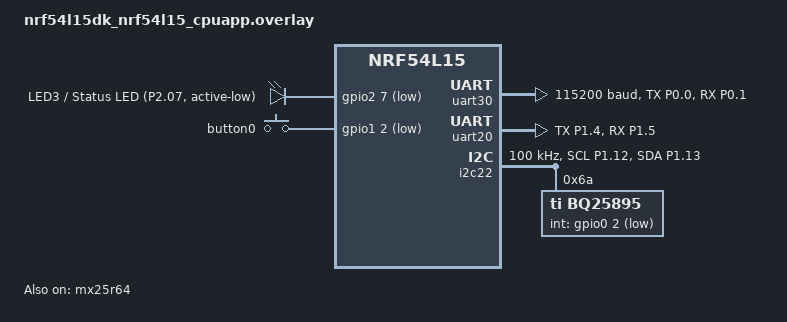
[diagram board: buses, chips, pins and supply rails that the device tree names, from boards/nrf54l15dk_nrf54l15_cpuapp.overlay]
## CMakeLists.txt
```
#
# SPDX-License-Identifier: LicenseRef-Nordic-5-Clause
#
cmake_minimum_required(VERSION 3.20.0)

find_package(Zephyr REQUIRED HINTS $ENV{ZEPHYR_BASE})
project(xbox_central)

target_include_directories(app PRIVATE ../../esb/common)

target_sources(app PRIVATE
  src/main.c
  src/xbox_report.c
  src/xbox_hids.c
  src/bq25895.c
  src/bq_shell.c
  src/esb_shell.c
  src/hub_log.c
  src/hub_flash_log.c
  src/hub_ble_log.c
  src/hub_status_led.c
  src/loglevel_shell.c
  src/flog_shell.c
  ../../esb/common/uart_rc_link.c
)
```

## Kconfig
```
# SPDX-License-Identifier: LicenseRef-Nordic-5-Clause

mainmenu "Ground BLE Hub"

source "Kconfig.zephyr"

menu "BQ25895 battery profile"

config BQ25895_BATT_CAPACITY_MAH
	int "LiPo cell capacity (mAh)"
	default 200
	range 50 10000
	help
	  Rated capacity of the connected single-cell LiPo.
	  Fast-charge current is derived as ~0.5C (rounded to the
	  BQ25895 64 mA step). Change this when swapping to a larger pack.

config BQ25895_CHARGE_RATE_MILLIC
	int "Charge rate in milli-C (500 = 0.5C)"
	default 500
	range 100 1000
	help
	  Fast-charge rate relative to capacity. 500 = 0.5C (typical LiPo).
	  ICHG = capacity_mAh * rate / 1000, then rounded to 64 mA steps
	  (minimum 64 mA, maximum 3008 mA).

endmenu
```

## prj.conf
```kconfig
#
# SPDX-License-Identifier: LicenseRef-Nordic-5-Clause
#
CONFIG_NCS_SAMPLES_DEFAULTS=y

CONFIG_BT=y
CONFIG_BT_CENTRAL=y
CONFIG_BT_PERIPHERAL=y
CONFIG_BT_SMP=y
CONFIG_BT_MAX_CONN=2
CONFIG_BT_ATT_TX_COUNT=5
CONFIG_BT_GATT_CLIENT=y
CONFIG_BT_GATT_DM=y
# Avoid HCI cmd-buffer deadlock when BT RX WQ issues sync commands
# (scan/adv/connect) while the only TX cmd buffer is still in flight.
CONFIG_BT_BUF_CMD_TX_COUNT=4
# Central may initiate while still scanning (Xbox reconnect + phone adv).
CONFIG_BT_CTLR_SDC_ALLOW_PARALLEL_SCANNING_AND_INITIATING=y
CONFIG_HEAP_MEM_POOL_SIZE=8192
CONFIG_BT_DEVICE_NAME="GroundHub"

CONFIG_BT_SCAN=y
CONFIG_BT_SCAN_FILTER_ENABLE=y
CONFIG_BT_SCAN_UUID_CNT=1
# Xbox controllers are unstable as BLE central when using host privacy (BlueZ/NimBLE).
# CONFIG_BT_PRIVACY is not set
CONFIG_BT_MAX_PAIRED=4

CONFIG_MAIN_STACK_SIZE=3584
CONFIG_SYSTEM_WORKQUEUE_STACK_SIZE=4096
CONFIG_BT_RX_STACK_SIZE=2560

CONFIG_BT_SETTINGS=y
CONFIG_SETTINGS=y
CONFIG_ZMS=y
CONFIG_SETTINGS_ZMS=y
CONFIG_PM_PARTITION_SIZE_SETTINGS_STORAGE=0x2000
CONFIG_FLASH=y
CONFIG_FLASH_PAGE_LAYOUT=y
CONFIG_FLASH_MAP=y
CONFIG_SPI=y
CONFIG_SPI_NOR=y
# MX25R64 supports 4KB sector erase; use it so log reclaim drops less data.
CONFIG_SPI_NOR_FLASH_LAYOUT_PAGE_SIZE=4096

# LiPo pack on BQ25895 — change when swapping to a larger cell.
CONFIG_BQ25895_BATT_CAPACITY_MAH=200
CONFIG_BQ25895_CHARGE_RATE_MILLIC=500

CONFIG_DK_LIBRARY=y
CONFIG_UART_INTERRUPT_DRIVEN=y

# P1.02/P1.03 default to NFC; release them so Btn1 (pair) on P1.02 is a real GPIO.
CONFIG_NFCT_PINS_AS_GPIOS=y

# BQ25895 power/charge manager (register-level I2C access + INT GPIO)
CONFIG_I2C=y
CONFIG_GPIO=y

# UART shell on console (uart20). Interrupt-driven RX is required for reliable
# input on nRF54L UARTE (EasyDMA); polling often never sees keystrokes.
CONFIG_SHELL=y
CONFIG_SHELL_BACKEND_SERIAL=y
CONFIG_SHELL_BACKEND_SERIAL_INTERRUPT_DRIVEN=y
CONFIG_SHELL_BACKEND_SERIAL_API_INTERRUPT_DRIVEN=y
CONFIG_SHELL_PROMPT_UART="hub> "
CONFIG_SHELL_STACK_SIZE=3072
CONFIG_SHELL_CMD_BUFF_SIZE=256
CONFIG_SHELL_BACKEND_SERIAL_RX_RING_BUFFER_SIZE=128
# Do not gate TX on DTR (screen/picocom often leave DTR awkward).
CONFIG_SHELL_BACKEND_SERIAL_CHECK_DTR=n

# Quiet Zephyr/BT stack console by default (ERR only).
# App HUB_* logs default to external flash (see flog / loglevel); UART mirror off.
CONFIG_LOG_DEFAULT_LEVEL=1
```

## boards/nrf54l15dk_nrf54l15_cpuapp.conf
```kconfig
#
# SPDX-License-Identifier: LicenseRef-Nordic-5-Clause
#

CONFIG_MAIN_STACK_SIZE=3584
```

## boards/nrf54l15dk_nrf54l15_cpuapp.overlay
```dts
/*
 * SPDX-License-Identifier: LicenseRef-Nordic-5-Clause
 *
 * Hub RC link on uart30: TX/RX only (no hardware flow control).
 * BQ25895 power/charge manager on i2c22 (SCL P1.12, SDA P1.13, addr 0x6A).
 * INT -> P0.02 (active-low pulse).
 */

/ {
	aliases {
		battery-charger = &bq25895;
		/* DK LED3 @ P2.07 (DT node led2) — also used as system status LED. */
		status-led = &led2;
	};
};

/*
 * Override DK LED3 (DT: led2, P2.07): external LED is active-low.
 * Board silk LED3 shares this pin; polarity matches the discrete LED.
 */
&led2 {
	gpios = <&gpio2 7 GPIO_ACTIVE_LOW>;
	label = "LED3 / Status LED (P2.07, active-low)";
};

&pinctrl {
	uart30_default: uart30_default {
		group1 {
			psels = <NRF_PSEL(UART_TX, 0, 0)>;
		};

		group2 {
			psels = <NRF_PSEL(UART_RX, 0, 1)>;
			bias-pull-up;
		};
	};

	uart30_sleep: uart30_sleep {
		group1 {
			psels = <NRF_PSEL(UART_TX, 0, 0)>,
				<NRF_PSEL(UART_RX, 0, 1)>;
			low-power-enable;
		};
	};

	/*
	 * I2C22 for the BQ25895. P1.12/P1.13 are free on the DK
	 * (console uart20 uses P1.04 TX / P1.05 RX).
	 * Adjust these psels to match your actual BQ25895 wiring.
	 */
	i2c22_default: i2c22_default {
		group1 {
			psels = <NRF_PSEL(TWIM_SCL, 1, 12)>,
				<NRF_PSEL(TWIM_SDA, 1, 13)>;
			bias-pull-up;
		};
	};

	i2c22_sleep: i2c22_sleep {
		group1 {
			psels = <NRF_PSEL(TWIM_SCL, 1, 12)>,
				<NRF_PSEL(TWIM_SDA, 1, 13)>;
			low-power-enable;
			bias-pull-up;
		};
	};

	/*
	 * Console uart20: TX/RX only. Board default also muxes RTS/CTS; with a
	 * CP2104 (or any adapter that honors CTS) that blocks host→MCU TX while
	 * MCU→host still works — Enter never reaches the shell.
	 */
	uart20_default: uart20_default {
		group1 {
			psels = <NRF_PSEL(UART_TX, 1, 4)>;
		};

		group2 {
			psels = <NRF_PSEL(UART_RX, 1, 5)>;
			bias-pull-up;
		};
	};

	uart20_sleep: uart20_sleep {
		group1 {
			psels = <NRF_PSEL(UART_TX, 1, 4)>,
				<NRF_PSEL(UART_RX, 1, 5)>;
			low-power-enable;
		};
	};
};

&uart30 {
	status = "okay";
	current-speed = <115200>;
	pinctrl-0 = <&uart30_default>;
	pinctrl-1 = <&uart30_sleep>;
	pinctrl-names = "default", "sleep";
};

/* Console/shell on uart20 — no HWFC, TX/RX-only pinctrl above */
&uart20 {
	/delete-property/ hw-flow-control;
	pinctrl-0 = <&uart20_default>;
	pinctrl-1 = <&uart20_sleep>;
	pinctrl-names = "default", "sleep";
};

/*
 * Button1 (DK_BTN1 / sw0) on P1.02 for ESB OTA pair hold.
 * P1.02 is NFC1 by default — release via &uicr { nfct-pins-as-gpios; }.
 * Also keeps SW0 off P1.13 (BQ25895 SDA).
 */
&button0 {
	gpios = <&gpio1 2 (GPIO_PULL_UP | GPIO_ACTIVE_LOW)>;
};

/* Required for P1.02/P1.03 as GPIO on nRF54L (injects NRF_CONFIG_NFCT_PINS_AS_GPIOS). */
&uicr {
	nfct-pins-as-gpios;
};

/*
 * External SPI NOR (DK MX25R64 on spi00). App uses the first 1 MiB as a
 * shared circular log with 4KB sectors (see hub_flash_log.c).
 */
&mx25r64 {
	status = "okay";
};

&i2c22 {
	status = "okay";
	pinctrl-0 = <&i2c22_default>;
	pinctrl-1 = <&i2c22_sleep>;
	pinctrl-names = "default", "sleep";
	clock-frequency = <I2C_BITRATE_STANDARD>;

	/* BQ25895 has a fixed 7-bit I2C address of 0x6A. INT on P0.02. */
	bq25895: charger@6a {
		compatible = "ti,bq25895";
		reg = <0x6a>;
		int-gpios = <&gpio0 2 (GPIO_PULL_UP | GPIO_ACTIVE_LOW)>;
	};
};
```

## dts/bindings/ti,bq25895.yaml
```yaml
# SPDX-License-Identifier: LicenseRef-Nordic-5-Clause
#
# Minimal binding for the TI BQ25895 I2C switch-mode battery charger.
# The firmware talks to it with register-level I2C access.

description: TI BQ25895 switch-mode battery charger / power path manager

compatible: "ti,bq25895"

include: [i2c-device.yaml]

properties:
  int-gpios:
    type: phandle-array
    description: |
      Open-drain INT pin (active-low ~256 µs pulse). Connect to a GPIO with
      pull-up; host uses falling-edge IRQ to read status / clear REG0C.
```

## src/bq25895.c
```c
/*
 * SPDX-License-Identifier: LicenseRef-Nordic-5-Clause
 */

#include "bq25895.h"

#include <errno.h>
#include <stddef.h>
#include <zephyr/device.h>
#include <zephyr/devicetree.h>
#include <zephyr/drivers/gpio.h>
#include <zephyr/drivers/i2c.h>
#include <zephyr/kernel.h>
#include "hub_log.h"

HUB_LOG_MODULE_DEFINE(HUB_MOD_BQ);
#include <zephyr/sys/util.h>

/* Register map (subset used for status reporting / bring-up). */
#define BQ25895_REG_IINLIM     0x00 /* EN_HIZ / EN_ILIM / IINLIM */
#define BQ25895_REG_ADC_CTRL   0x02 /* CONV_RATE / ICO / HVDCP / MAXC / DPDM */
#define BQ25895_REG_SYS_CTRL   0x03 /* OTG_CONFIG / CHG_CONFIG */
#define BQ25895_REG_ICHG       0x04 /* ICHG[6:0], 64 mA/step */
#define BQ25895_REG_IPRETERM   0x05 /* IPRECHG[7:4] / ITERM[3:0], 64 mA/step */
#define BQ25895_REG_CHG_VOLT   0x06 /* VREG / BATLOWV / VRECHG */
#define BQ25895_REG_TIMER      0x07 /* EN_TERM / WATCHDOG / EN_TIMER */
#define BQ25895_REG_CHG_STATUS 0x0B /* VBUS_STAT / CHRG_STAT / PG_STAT */
#define BQ25895_REG_FAULT      0x0C
#define BQ25895_REG_BATV       0x0E /* THERM_STAT[7], BATV[6:0] */
#define BQ25895_REG_SYSV       0x0F /* SYSV[6:0] */
#define BQ25895_REG_VBUSV      0x11 /* VBUS_GD[7], VBUSV[6:0] */
#define BQ25895_REG_ICHGR      0x12 /* ICHGR[6:0] */

#define BQ25895_ADC_CONV_RATE  BIT(6) /* 1 = continuous 1 Hz ADC */
#define BQ25895_ICO_EN         BIT(4)
#define BQ25895_HVDCP_EN       BIT(3)
#define BQ25895_MAXC_EN        BIT(2)
#define BQ25895_OTG_CONFIG     BIT(5)
#define BQ25895_CHG_CONFIG     BIT(4)
#define BQ25895_VRECHG         BIT(0) /* 1 = 200 mV recharge threshold */
#define BQ25895_WATCHDOG_MASK  (BIT(5) | BIT(4))
#define BQ25895_EN_ILIM        BIT(6)
#define BQ25895_IINLIM_MASK    0x3FU
#define BQ25895_ICHG_MASK      0x7FU
#define BQ25895_IPRECHG_SHIFT  4
#define BQ25895_IPRETERM_MASK  0xFFU

/* Current programming (datasheet). */
#define BQ25895_ICHG_STEP_MA      64U
#define BQ25895_ICHG_MAX_MA       3008U
#define BQ25895_IPRETERM_STEP_MA  64U
#define BQ25895_IPRETERM_MAX_MA   1024U
#define BQ25895_IINLIM_OFFSET_MA  100U
#define BQ25895_IINLIM_STEP_MA    50U

/*
 * Battery profile — default 200 mAh LiPo @ ~0.5C.
 * Override via Kconfig (menuconfig / prj.conf) when swapping packs, e.g.:
 *   CONFIG_BQ25895_BATT_CAPACITY_MAH=1000
 */
#ifndef CONFIG_BQ25895_BATT_CAPACITY_MAH
#define CONFIG_BQ25895_BATT_CAPACITY_MAH 200
#endif
#ifndef CONFIG_BQ25895_CHARGE_RATE_MILLIC
#define CONFIG_BQ25895_CHARGE_RATE_MILLIC 500
#endif

#define BQ25895_BATT_CAPACITY_MAH ((uint32_t)CONFIG_BQ25895_BATT_CAPACITY_MAH)
#define BQ25895_CHARGE_RATE_MILLIC ((uint32_t)CONFIG_BQ25895_CHARGE_RATE_MILLIC)

/* USB500-class input limit — enough headroom for small ICHG + system load. */
#define BQ25895_IINLIM_TARGET_MA  500U

/* ADC scaling per datasheet. */
#define BQ25895_BATV_OFFSET_MV  2304U
#define BQ25895_BATV_STEP_MV    20U
#define BQ25895_SYSV_OFFSET_MV  2304U
#define BQ25895_SYSV_STEP_MV    20U
#define BQ25895_VBUSV_OFFSET_MV 2600U
#define BQ25895_VBUSV_STEP_MV   100U
#define BQ25895_ICHGR_STEP_MA   50U

/* Rough single-cell Li-ion SoC end points. */
#define BQ25895_BATT_EMPTY_MV 3300U
#define BQ25895_BATT_FULL_MV  4200U

static uint8_t soc_from_mv(uint16_t mv)
{
	if (mv <= BQ25895_BATT_EMPTY_MV) {
		return 0U;
	}
	if (mv >= BQ25895_BATT_FULL_MV) {
		return 100U;
	}
	return (uint8_t)(((uint32_t)(mv - BQ25895_BATT_EMPTY_MV) * 100U) /
			 (BQ25895_BATT_FULL_MV - BQ25895_BATT_EMPTY_MV));
}

/** Round @p ma up to @p step, clamp to [step, max]. */
static uint16_t round_current_ma(uint32_t ma, uint16_t step, uint16_t max_ma)
{
	uint32_t rounded;

	if (ma < step) {
		return step;
	}
	rounded = ((ma + (step / 2U)) / step) * step;
	if (rounded < step) {
		rounded = step;
	}
	if (rounded > max_ma) {
		rounded = max_ma;
	}
	return (uint16_t)rounded;
}

static uint16_t profile_ichg_ma(void)
{
	uint32_t target =
		(BQ25895_BATT_CAPACITY_MAH * BQ25895_CHARGE_RATE_MILLIC) / 1000U;

	return round_current_ma(target, BQ25895_ICHG_STEP_MA, BQ25895_ICHG_MAX_MA);
}

/** Termination / precharge ≈ 0.1C, floored at chip minimum 64 mA. */
static uint16_t profile_iterm_ma(void)
{
	uint32_t target = (BQ25895_BATT_CAPACITY_MAH + 9U) / 10U;

	return round_current_ma(target, BQ25895_IPRETERM_STEP_MA,
				BQ25895_IPRETERM_MAX_MA);
}

static uint8_t encode_ichg(uint16_t ma)
{
	return (uint8_t)((ma / BQ25895_ICHG_STEP_MA) & BQ25895_ICHG_MASK);
}

static uint8_t encode_ipreterm_nibble(uint16_t ma)
{
	uint16_t code;

	if (ma < BQ25895_IPRETERM_STEP_MA) {
		ma = BQ25895_IPRETERM_STEP_MA;
	}
	code = (uint16_t)(ma / BQ25895_IPRETERM_STEP_MA);
	if (code == 0U) {
		code = 1U;
	}
	if (code > 16U) {
		code = 16U;
	}
	/* REG05: field value N programs (N+1)*64 mA → store N = code-1. */
	return (uint8_t)(code - 1U);
}

static uint8_t encode_iinlim(uint16_t ma)
{
	uint16_t code;

	if (ma < BQ25895_IINLIM_OFFSET_MA) {
		ma = BQ25895_IINLIM_OFFSET_MA;
	}
	code = (uint16_t)((ma - BQ25895_IINLIM_OFFSET_MA) / BQ25895_IINLIM_STEP_MA);
	if (code > BQ25895_IINLIM_MASK) {
		code = BQ25895_IINLIM_MASK;
	}
	return (uint8_t)code;
}


#if DT_HAS_ALIAS(battery_charger)

#define BQ25895_NODE DT_ALIAS(battery_charger)
#define BQ25895_HAS_INT DT_NODE_HAS_PROP(BQ25895_NODE, int_gpios)

/* Coalesce DPDM / multi-fault INT bursts before touching I2C. */
#define BQ25895_INT_DEBOUNCE_MS 30

static const struct i2c_dt_spec charger = I2C_DT_SPEC_GET(BQ25895_NODE);

static bq25895_event_cb_t event_cb;
static bool irq_armed;

#if BQ25895_HAS_INT
static const struct gpio_dt_spec int_gpio = GPIO_DT_SPEC_GET(BQ25895_NODE, int_gpios);
static struct gpio_callback int_cb_data;
static struct k_work_delayable int_work;

static void bq25895_int_work_handler(struct k_work *work)
{
	bq25895_event_cb_t cb = event_cb;

	ARG_UNUSED(work);

	if (cb != NULL) {
		cb();
	}
}

static void bq25895_int_isr(const struct device *port, struct gpio_callback *cb,
			    uint32_t pins)
{
	ARG_UNUSED(port);
	ARG_UNUSED(cb);
	ARG_UNUSED(pins);

	(void)k_work_reschedule(&int_work, K_MSEC(BQ25895_INT_DEBOUNCE_MS));
}

static int bq25895_irq_init(void)
{
	int err;

	if (!gpio_is_ready_dt(&int_gpio)) {
		HUB_ERR("BQ25895 INT GPIO not ready\n");
		return -ENODEV;
	}

	err = gpio_pin_configure_dt(&int_gpio, GPIO_INPUT);
	if (err) {
		HUB_ERR("BQ25895 INT configure failed: %d\n", err);
		return err;
	}

	err = gpio_pin_interrupt_configure_dt(&int_gpio, GPIO_INT_EDGE_TO_ACTIVE);
	if (err) {
		HUB_ERR("BQ25895 INT irq configure failed: %d\n", err);
		return err;
	}

	k_work_init_delayable(&int_work, bq25895_int_work_handler);
	gpio_init_callback(&int_cb_data, bq25895_int_isr, BIT(int_gpio.pin));
	err = gpio_add_callback(int_gpio.port, &int_cb_data);
	if (err) {
		HUB_ERR("BQ25895 INT callback add failed: %d\n", err);
		return err;
	}

	irq_armed = true;
	HUB_INF("BQ25895 INT on %s.%u (edge-to-active, %u ms debounce)\n",
		int_gpio.port->name, int_gpio.pin, BQ25895_INT_DEBOUNCE_MS);
	return 0;
}
#else /* !BQ25895_HAS_INT */
static int bq25895_irq_init(void)
{
	HUB_WRN("BQ25895 int-gpios missing — IRQ disabled\n");
	irq_armed = false;
	return 0;
}
#endif /* BQ25895_HAS_INT */

bool bq25895_available(void)
{
	return device_is_ready(charger.bus);
}

bool bq25895_irq_ready(void)
{
	return irq_armed;
}

void bq25895_set_event_cb(bq25895_event_cb_t cb)
{
	event_cb = cb;
}

/*
 * Defaults leave HVDCP/MaxCharge/ICO on. On a plain 5 V USB/bench supply that
 * causes PUMPX current pulses (VBUS dips). Keep OTG/boost enabled so battery
 * can power the onboard rail via PMID when VBUS is absent.
 *
 * Charge currents follow the LiPo capacity profile (see Kconfig /
 * BQ25895_BATT_CAPACITY_MAH) so a 200 mAh cell is not hit with the chip's
 * default ~2 A ICHG.
 */
static int bq25895_apply_safe_config(void)
{
	uint8_t reg;
	uint16_t ichg_ma;
	uint16_t iterm_ma;
	int err;

	ichg_ma = profile_ichg_ma();
	iterm_ma = profile_iterm_ma();

	err = i2c_reg_read_byte_dt(&charger, BQ25895_REG_ADC_CTRL, &reg);
	if (err) {
		return err;
	}
	reg |= BQ25895_ADC_CONV_RATE;
	reg &= (uint8_t)~(BQ25895_ICO_EN | BQ25895_HVDCP_EN | BQ25895_MAXC_EN);
	err = i2c_reg_write_byte_dt(&charger, BQ25895_REG_ADC_CTRL, reg);
	if (err) {
		return err;
	}

	err = i2c_reg_read_byte_dt(&charger, BQ25895_REG_SYS_CTRL, &reg);
	if (err) {
		return err;
	}
	/* Charge on; keep OTG/boost on so BAT can supply onboard rail via PMID. */
	reg |= BQ25895_CHG_CONFIG | BQ25895_OTG_CONFIG;
	err = i2c_reg_write_byte_dt(&charger, BQ25895_REG_SYS_CTRL, reg);
	if (err) {
		return err;
	}

	/* REG00: keep EN_ILIM, set IINLIM (USB500). D+/D- may overwrite later. */
	err = i2c_reg_read_byte_dt(&charger, BQ25895_REG_IINLIM, &reg);
	if (err) {
		return err;
	}
	reg = (uint8_t)((reg & (uint8_t)~BQ25895_IINLIM_MASK) |
			encode_iinlim(BQ25895_IINLIM_TARGET_MA) | BQ25895_EN_ILIM);
	err = i2c_reg_write_byte_dt(&charger, BQ25895_REG_IINLIM, reg);
	if (err) {
		return err;
	}

	/* REG04: fast-charge current from capacity profile. */
	err = i2c_reg_write_byte_dt(&charger, BQ25895_REG_ICHG, encode_ichg(ichg_ma));
	if (err) {
		return err;
	}

	/*
	 * REG05: IPRECHG + ITERM. Chip minimum is 64 mA (~0.32C on 200 mAh);
	 * that is the gentlest termination the BQ25895 allows.
	 */
	reg = (uint8_t)((encode_ipreterm_nibble(iterm_ma) << BQ25895_IPRECHG_SHIFT) |
			encode_ipreterm_nibble(iterm_ma));
	err = i2c_reg_write_byte_dt(&charger, BQ25895_REG_IPRETERM, reg);
	if (err) {
		return err;
	}

	err = i2c_reg_read_byte_dt(&charger, BQ25895_REG_CHG_VOLT, &reg);
	if (err) {
		return err;
	}
	/* 200 mV recharge hysteresis — reduces done/charging chatter near VRECHG. */
	if ((reg & BQ25895_VRECHG) == 0U) {
		reg |= BQ25895_VRECHG;
		err = i2c_reg_write_byte_dt(&charger, BQ25895_REG_CHG_VOLT, reg);
		if (err) {
			return err;
		}
	}

	err = i2c_reg_read_byte_dt(&charger, BQ25895_REG_TIMER, &reg);
	if (err) {
		return err;
	}
	/* Disable I2C watchdog so a POR/default restore cannot re-enable HVDCP/OTG. */
	if ((reg & BQ25895_WATCHDOG_MASK) != 0U) {
		reg &= (uint8_t)~BQ25895_WATCHDOG_MASK;
		err = i2c_reg_write_byte_dt(&charger, BQ25895_REG_TIMER, reg);
		if (err) {
			return err;
		}
	}

	HUB_INF("BQ25895 batt %u mAh @ %u mC → ICHG=%u mA ITERM/IPRE=%u mA IINLIM=%u mA\n",
		(unsigned int)BQ25895_BATT_CAPACITY_MAH,
		(unsigned int)BQ25895_CHARGE_RATE_MILLIC, ichg_ma, iterm_ma,
		BQ25895_IINLIM_TARGET_MA);
	return 0;
}

/* Cheap check: only rewrite when POR/default bits came back. */
static int bq25895_ensure_safe_config(void)
{
	uint8_t reg02;
	uint8_t reg03;
	uint8_t reg04;
	uint8_t expect_ichg;
	int err;

	err = i2c_reg_read_byte_dt(&charger, BQ25895_REG_ADC_CTRL, &reg02);
	if (err) {
		return err;
	}
	err = i2c_reg_read_byte_dt(&charger, BQ25895_REG_SYS_CTRL, &reg03);
	if (err) {
		return err;
	}
	err = i2c_reg_read_byte_dt(&charger, BQ25895_REG_ICHG, &reg04);
	if (err) {
		return err;
	}

	expect_ichg = encode_ichg(profile_ichg_ma());

	if (((reg02 & BQ25895_ADC_CONV_RATE) == 0U) ||
	    ((reg02 & (BQ25895_ICO_EN | BQ25895_HVDCP_EN | BQ25895_MAXC_EN)) != 0U) ||
	    ((reg03 & BQ25895_OTG_CONFIG) == 0U) ||
	    ((reg03 & BQ25895_CHG_CONFIG) == 0U) ||
	    ((reg04 & BQ25895_ICHG_MASK) != expect_ichg)) {
		HUB_WRN("BQ25895 defaults restored — reapplying safe config\n");
		return bq25895_apply_safe_config();
	}

	return 0;
}

int bq25895_init(void)
{
	uint8_t reg;
	int err;

	if (!device_is_ready(charger.bus)) {
		HUB_ERR("BQ25895 I2C bus not ready\n");
		return -ENODEV;
	}

	HUB_INF("BQ25895 probe on %s addr 0x%02x\n", charger.bus->name, charger.addr);

	/* Probe: a successful register read means the charger ACKs. */
	err = i2c_reg_read_byte_dt(&charger, BQ25895_REG_CHG_STATUS, &reg);
	if (err) {
		HUB_ERR("BQ25895 not responding at 0x%02x (err %d)\n",
		       charger.addr, err);
		bq25895_i2c_scan();
		return -ENODEV;
	}

	err = bq25895_apply_safe_config();
	if (err) {
		HUB_ERR("BQ25895 safe config failed (err %d)\n", err);
		return err;
	}

	err = bq25895_irq_init();
	if (err) {
		return err;
	}

	/* Clear any latched fault so subsequent INT pulses are not blocked. */
	(void)i2c_reg_read_byte_dt(&charger, BQ25895_REG_FAULT, &reg);
	(void)i2c_reg_read_byte_dt(&charger, BQ25895_REG_FAULT, &reg);

	HUB_INF("BQ25895 ready (HVDCP/MAXC/ICO off, OTG on, WD off, VRECHG=200mV, "
		"profile %umAh)\n",
		(unsigned int)BQ25895_BATT_CAPACITY_MAH);
	return 0;
}

int bq25895_read(struct bq25895_status *out)
{
	uint8_t status_reg;
	uint8_t reg;
	uint8_t fault_live;
	int err;

	if (out == NULL) {
		return -EINVAL;
	}

	/* Re-apply if a POR restored chip defaults (HVDCP/OTG back on). */
	(void)bq25895_ensure_safe_config();

	err = i2c_reg_read_byte_dt(&charger, BQ25895_REG_CHG_STATUS, &status_reg);
	if (err) {
		return err;
	}
	out->vbus_state = (enum bq25895_vbus_state)((status_reg >> 5) & 0x07U);
	out->charge_state = (enum bq25895_charge_state)((status_reg >> 3) & 0x03U);
	out->power_good = (status_reg & BIT(2)) != 0U;

	/* 1st REG0C = latched since last read (what caused INT); 2nd = live. */
	err = i2c_reg_read_byte_dt(&charger, BQ25895_REG_FAULT, &out->fault);
	if (err) {
		return err;
	}
	err = i2c_reg_read_byte_dt(&charger, BQ25895_REG_FAULT, &fault_live);
	if (err) {
		return err;
	}
	ARG_UNUSED(fault_live);

	err = i2c_reg_read_byte_dt(&charger, BQ25895_REG_BATV, &reg);
	if (err) {
		return err;
	}
	out->batt_mv = BQ25895_BATV_OFFSET_MV +
		       (uint16_t)(reg & 0x7FU) * BQ25895_BATV_STEP_MV;
	out->battery_pct = soc_from_mv(out->batt_mv);

	err = i2c_reg_read_byte_dt(&charger, BQ25895_REG_SYSV, &reg);
	if (err) {
		return err;
	}
	out->sys_mv = BQ25895_SYSV_OFFSET_MV +
		      (uint16_t)(reg & 0x7FU) * BQ25895_SYSV_STEP_MV;

	err = i2c_reg_read_byte_dt(&charger, BQ25895_REG_VBUSV, &reg);
	if (err) {
		return err;
	}
	out->vbus_present = (reg & BIT(7)) != 0U;
	if ((reg & 0x7FU) != 0U) {
		out->vbus_mv = BQ25895_VBUSV_OFFSET_MV +
			       (uint16_t)(reg & 0x7FU) * BQ25895_VBUSV_STEP_MV;
	} else {
		out->vbus_mv = 0U;
	}

	err = i2c_reg_read_byte_dt(&charger, BQ25895_REG_ICHGR, &reg);
	if (err) {
		return err;
	}
	out->charge_ma = (uint16_t)(reg & 0x7FU) * BQ25895_ICHGR_STEP_MA;

	return 0;
}

int bq25895_reg_read(uint8_t reg, uint8_t *value)
{
	if (value == NULL || reg > 0x14U) {
		return -EINVAL;
	}
	if (!device_is_ready(charger.bus)) {
		return -ENODEV;
	}
	return i2c_reg_read_byte_dt(&charger, reg, value);
}

int bq25895_reg_write(uint8_t reg, uint8_t value)
{
	if (reg > 0x14U) {
		return -EINVAL;
	}
	if (!device_is_ready(charger.bus)) {
		return -ENODEV;
	}
	return i2c_reg_write_byte_dt(&charger, reg, value);
}

int bq25895_reg_dump(uint8_t start, uint8_t end, uint8_t *buf, size_t count)
{
	int err;

	if (buf == NULL || start > end || end > 0x14U) {
		return -EINVAL;
	}
	if (count < (size_t)(end - start + 1U)) {
		return -ENOMEM;
	}
	if (!device_is_ready(charger.bus)) {
		return -ENODEV;
	}

	for (uint8_t reg = start; reg <= end; reg++) {
		err = i2c_reg_read_byte_dt(&charger, reg, &buf[reg - start]);
		if (err) {
			return err;
		}
	}
	return 0;
}

void bq25895_log_dump(void)
{
	uint8_t regs[0x15];
	uint8_t reg0b;
	uint8_t fault;
	uint8_t chrg;
	uint8_t ntc;
	int err;

	err = bq25895_reg_dump(0x00, 0x14, regs, sizeof(regs));
	if (err) {
		HUB_FORCE("BQ25895 dump failed: %d\n", err);
		return;
	}

	HUB_FORCE("==== BQ25895 REG00..REG14 ====\n");
	for (uint8_t reg = 0; reg <= 0x14U; reg++) {
		HUB_FORCE("  REG%02X = 0x%02x\n", reg, regs[reg]);
	}

	reg0b = regs[0x0B];
	fault = regs[0x0C];
	chrg = (fault >> 4) & 0x03U;
	ntc = fault & 0x07U;

	HUB_FORCE("---- STATUS REG0B=0x%02x ----\n", reg0b);
	HUB_FORCE("  VBUS_STAT=%u (%s) CHRG_STAT=%u (%s) PG=%u\n",
	       (reg0b >> 5) & 0x07U,
	       bq25895_vbus_state_str((enum bq25895_vbus_state)((reg0b >> 5) & 0x07U)),
	       (reg0b >> 3) & 0x03U,
	       bq25895_charge_state_str((enum bq25895_charge_state)((reg0b >> 3) & 0x03U)),
	       (reg0b >> 2) & 0x01U);

	HUB_FORCE("---- FAULT REG0C=0x%02x ----\n", fault);
	if (fault == 0U) {
		HUB_FORCE("  (no fault)\n");
	} else {
		if (fault & BIT(7)) {
			HUB_FORCE("  WATCHDOG_FAULT\n");
		}
		if (fault & BIT(6)) {
			HUB_FORCE("  BOOST/OTG_FAULT\n");
		}
		switch (chrg) {
		case 1:
			HUB_FORCE("  CHRG_FAULT: input (VBUS OVP / bad source)\n");
			break;
		case 2:
			HUB_FORCE("  CHRG_FAULT: thermal shutdown\n");
			break;
		case 3:
			HUB_FORCE("  CHRG_FAULT: safety timer expired\n");
			break;
		default:
			break;
		}
		if (fault & BIT(3)) {
			HUB_FORCE("  BAT_FAULT (OVP)\n");
		}
		switch (ntc) {
		case 1:
			HUB_FORCE("  NTC_FAULT: TS cold\n");
			break;
		case 2:
			HUB_FORCE("  NTC_FAULT: TS hot\n");
			break;
		case 5:
			HUB_FORCE("  NTC_FAULT: TS cold (boost)\n");
			break;
		case 6:
			HUB_FORCE("  NTC_FAULT: TS hot (boost)\n");
			break;
		default:
			break;
		}
	}
	HUB_FORCE("Hint: STAT ~1Hz blink usually means REG0C fault (NTC/TS common).\n");
	HUB_FORCE("==== end BQ25895 dump ====\n");
}

void bq25895_i2c_scan(void)
{
	uint8_t dst;
	int found = 0;
	int err;

	if (!device_is_ready(charger.bus)) {
		HUB_FORCE("I2C bus not ready for scan\n");
		return;
	}

	HUB_FORCE("I2C scan 0x08..0x77 on %s:\n", charger.bus->name);
	for (uint16_t addr = 0x08; addr <= 0x77; addr++) {
		err = i2c_read(charger.bus, &dst, 1, addr);
		if (err == 0) {
			HUB_FORCE("  ACK at 0x%02x\n", addr);
			found++;
		}
	}
	if (found == 0) {
		HUB_FORCE("  (no devices ACK — check REGN/VBUS power, SDA/SCL "
		       "solder & pull-ups, SCL=P1.11 SDA=P1.12)\n");
	} else {
		HUB_FORCE("  %d device(s) found (BQ25895 should be 0x6a)\n", found);
	}
}

#else /* No BQ25895 in devicetree */

bool bq25895_available(void)
{
	return false;
}

bool bq25895_irq_ready(void)
{
	return false;
}

void bq25895_set_event_cb(bq25895_event_cb_t cb)
{
	ARG_UNUSED(cb);
}

int bq25895_init(void)
{
	HUB_ERR("No BQ25895 charger in devicetree\n");
	return -ENODEV;
}

int bq25895_read(struct bq25895_status *out)
{
	ARG_UNUSED(out);
	return -ENODEV;
}

int bq25895_reg_read(uint8_t reg, uint8_t *value)
{
	ARG_UNUSED(reg);
	ARG_UNUSED(value);
	return -ENODEV;
}

int bq25895_reg_write(uint8_t reg, uint8_t value)
{
	ARG_UNUSED(reg);
	ARG_UNUSED(value);
	return -ENODEV;
}

int bq25895_reg_dump(uint8_t start, uint8_t end, uint8_t *buf, size_t count)
{
	ARG_UNUSED(start);
	ARG_UNUSED(end);
	ARG_UNUSED(buf);
	ARG_UNUSED(count);
	return -ENODEV;
}

void bq25895_log_dump(void)
{
	HUB_FORCE("BQ25895 not in devicetree\n");
}

void bq25895_i2c_scan(void)
{
	HUB_FORCE("BQ25895 not in devicetree\n");
}

#endif /* DT_HAS_ALIAS(battery_charger) */

const char *bq25895_charge_state_str(enum bq25895_charge_state state)
{
	switch (state) {
	case BQ25895_CHG_PRE_CHARGE:
		return "pre-charge";
	case BQ25895_CHG_FAST_CHARGING:
		return "charging";
	case BQ25895_CHG_DONE:
		return "done";
	default:
		return "not-charging";
	}
}

const char *bq25895_vbus_state_str(enum bq25895_vbus_state state)
{
	switch (state) {
	case BQ25895_VBUS_USB_SDP:
		return "USB-SDP";
	case BQ25895_VBUS_USB_CDP:
		return "USB-CDP";
	case BQ25895_VBUS_USB_DCP:
		return "USB-DCP";
	case BQ25895_VBUS_MAXCHARGE:
		return "MaxCharge";
	case BQ25895_VBUS_UNKNOWN:
		return "adapter";
	case BQ25895_VBUS_NONSTANDARD:
		return "non-std";
	case BQ25895_VBUS_OTG:
		return "OTG";
	default:
		return "none";
	}
}
```

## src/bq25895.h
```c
/*
 * SPDX-License-Identifier: LicenseRef-Nordic-5-Clause
 *
 * Minimal register-level driver for the TI BQ25895 battery charger /
 * power-path manager. Exposes power-supply and charge status over I2C.
 */

#ifndef BQ25895_H_
#define BQ25895_H_

#include <stddef.h>
#include <stdbool.h>
#include <stdint.h>

/* REG0B CHRG_STAT[1:0] — charging state. */
enum bq25895_charge_state {
	BQ25895_CHG_NOT_CHARGING = 0,
	BQ25895_CHG_PRE_CHARGE = 1,
	BQ25895_CHG_FAST_CHARGING = 2,
	BQ25895_CHG_DONE = 3,
};

/* REG0B VBUS_STAT[2:0] — detected input source. */
enum bq25895_vbus_state {
	BQ25895_VBUS_NONE = 0,
	BQ25895_VBUS_USB_SDP = 1,
	BQ25895_VBUS_USB_CDP = 2,
	BQ25895_VBUS_USB_DCP = 3,
	BQ25895_VBUS_MAXCHARGE = 4,
	BQ25895_VBUS_UNKNOWN = 5,
	BQ25895_VBUS_NONSTANDARD = 6,
	BQ25895_VBUS_OTG = 7,
};

struct bq25895_status {
	uint16_t batt_mv;   /* Battery voltage (BATV) */
	uint16_t sys_mv;    /* System voltage (SYSV) */
	uint16_t vbus_mv;   /* Input voltage (VBUSV), 0 when no input */
	uint16_t charge_ma; /* Charge current (ICHGR) */
	uint8_t battery_pct; /* Rough Li-ion SoC estimate, 0..100 */
	enum bq25895_charge_state charge_state;
	enum bq25895_vbus_state vbus_state;
	bool power_good;    /* REG0B PG_STAT */
	bool vbus_present;  /* REG11 VBUS_GD */
	uint8_t fault;      /* REG0C latched fault (1st read) */
};

/** Called from system workqueue after an INT pulse (coalesced). */
typedef void (*bq25895_event_cb_t)(void);

/** True when a BQ25895 exists in the devicetree and answers on I2C. */
bool bq25895_available(void);

/**
 * Probe the charger, apply safe defaults, and (if int-gpios present) arm INT.
 * Returns 0 on success.
 */
int bq25895_init(void);

/**
 * Register a callback invoked after INT (falling edge, debounced).
 * Pass NULL to unregister. Safe to call before or after bq25895_init().
 */
void bq25895_set_event_cb(bq25895_event_cb_t cb);

/** True when DT provides int-gpios and IRQ was armed successfully. */
bool bq25895_irq_ready(void);

/** Read a full status snapshot. Returns 0 on success. */
int bq25895_read(struct bq25895_status *out);

/** Read one 8-bit register (0x00..0x14). Returns 0 on success. */
int bq25895_reg_read(uint8_t reg, uint8_t *value);

/** Write one 8-bit register. Returns 0 on success. */
int bq25895_reg_write(uint8_t reg, uint8_t value);

/**
 * Dump registers [start..end] inclusive into @p buf.
 * @p count must be >= (end - start + 1). Returns 0 on success.
 */
int bq25895_reg_dump(uint8_t start, uint8_t end, uint8_t *buf, size_t count);

/** Print full REG00..REG14 dump + STATUS/FAULT decode via printk. */
void bq25895_log_dump(void);

/** Scan the charger I2C bus and print addresses that ACK. */
void bq25895_i2c_scan(void);

/** Human-readable charge / input state strings. */
const char *bq25895_charge_state_str(enum bq25895_charge_state state);
const char *bq25895_vbus_state_str(enum bq25895_vbus_state state);

#endif /* BQ25895_H_ */
```

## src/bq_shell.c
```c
/*
 * SPDX-License-Identifier: LicenseRef-Nordic-5-Clause
 *
 * UART shell helpers for BQ25895 bring-up / fault diagnosis.
 *
 * Console (uart20 @ 115200):
 *   bq dump              — dump REG00..REG14 + decode key fields
 *   bq read <reg>        — read one register (hex or decimal)
 *   bq write <reg> <val> — write one register
 *   bq status            — decoded charge / ADC snapshot
 *
 * STAT pin blinking ~1 Hz usually means a fault is latched in REG0C.
 */

#include "bq25895.h"

#include <stdlib.h>
#include <zephyr/kernel.h>
#include <zephyr/shell/shell.h>
#include <zephyr/sys/util.h>

#define BQ_REG_FIRST 0x00U
#define BQ_REG_LAST  0x14U

static int parse_u8(const char *s, uint8_t *out)
{
	char *end = NULL;
	unsigned long v;

	if (s == NULL || out == NULL) {
		return -EINVAL;
	}
	v = strtoul(s, &end, 0);
	if (end == s || *end != '\0' || v > 0xFFUL) {
		return -EINVAL;
	}
	*out = (uint8_t)v;
	return 0;
}

static void decode_fault(const struct shell *sh, uint8_t fault)
{
	uint8_t chrg = (fault >> 4) & 0x03U;
	uint8_t ntc = fault & 0x07U;

	shell_print(sh, "REG0C FAULT = 0x%02x%s", fault, fault ? "" : " (none)");
	if (fault == 0U) {
		return;
	}
	if (fault & BIT(7)) {
		shell_print(sh, "  WATCHDOG_FAULT");
	}
	if (fault & BIT(6)) {
		shell_print(sh, "  BOOST/OTG_FAULT");
	}
	switch (chrg) {
	case 1:
		shell_print(sh, "  CHRG_FAULT: input (VBUS OVP / bad source)");
		break;
	case 2:
		shell_print(sh, "  CHRG_FAULT: thermal shutdown");
		break;
	case 3:
		shell_print(sh, "  CHRG_FAULT: safety timer expired");
		break;
	default:
		break;
	}
	if (fault & BIT(3)) {
		shell_print(sh, "  BAT_FAULT (OVP)");
	}
	switch (ntc) {
	case 1:
		shell_print(sh, "  NTC_FAULT: TS cold");
		break;
	case 2:
		shell_print(sh, "  NTC_FAULT: TS hot");
		break;
	case 5:
		shell_print(sh, "  NTC_FAULT: TS cold (boost)");
		break;
	case 6:
		shell_print(sh, "  NTC_FAULT: TS hot (boost)");
		break;
	default:
		break;
	}
}

static void decode_status_reg(const struct shell *sh, uint8_t reg0b)
{
	uint8_t vbus = (reg0b >> 5) & 0x07U;
	uint8_t chg = (reg0b >> 3) & 0x03U;

	shell_print(sh, "REG0B STATUS = 0x%02x", reg0b);
	shell_print(sh, "  VBUS_STAT=%u (%s)", vbus,
		    bq25895_vbus_state_str((enum bq25895_vbus_state)vbus));
	shell_print(sh, "  CHRG_STAT=%u (%s)", chg,
		    bq25895_charge_state_str((enum bq25895_charge_state)chg));
	shell_print(sh, "  PG_STAT=%u  SDP_STAT=%u  VSYS_STAT=%u",
		    (reg0b >> 2) & 1U, (reg0b >> 1) & 1U, reg0b & 1U);
}

static int cmd_bq_dump(const struct shell *sh, size_t argc, char **argv)
{
	ARG_UNUSED(argc);
	ARG_UNUSED(argv);

	if (!bq25895_available()) {
		shell_error(sh, "BQ25895 I2C bus not ready");
		return -ENODEV;
	}

	bq25895_log_dump();
	return 0;
}

static int cmd_bq_scan(const struct shell *sh, size_t argc, char **argv)
{
	ARG_UNUSED(sh);
	ARG_UNUSED(argc);
	ARG_UNUSED(argv);

	bq25895_i2c_scan();
	return 0;
}

static int cmd_bq_read(const struct shell *sh, size_t argc, char **argv)
{
	uint8_t reg;
	uint8_t val;
	int err;

	if (argc < 2) {
		shell_error(sh, "usage: bq read <reg>");
		return -EINVAL;
	}
	err = parse_u8(argv[1], &reg);
	if (err || reg > BQ_REG_LAST) {
		shell_error(sh, "reg must be 0x00..0x14");
		return -EINVAL;
	}

	err = bq25895_reg_read(reg, &val);
	if (err) {
		shell_error(sh, "read REG%02X failed: %d", reg, err);
		return err;
	}
	shell_print(sh, "REG%02X = 0x%02x (%u)", reg, val, val);
	return 0;
}

static int cmd_bq_write(const struct shell *sh, size_t argc, char **argv)
{
	uint8_t reg;
	uint8_t val;
	int err;

	if (argc < 3) {
		shell_error(sh, "usage: bq write <reg> <val>");
		return -EINVAL;
	}
	err = parse_u8(argv[1], &reg);
	if (err || reg > BQ_REG_LAST) {
		shell_error(sh, "reg must be 0x00..0x14");
		return -EINVAL;
	}
	err = parse_u8(argv[2], &val);
	if (err) {
		shell_error(sh, "invalid value");
		return -EINVAL;
	}

	err = bq25895_reg_write(reg, val);
	if (err) {
		shell_error(sh, "write REG%02X failed: %d", reg, err);
		return err;
	}
	shell_print(sh, "wrote REG%02X = 0x%02x", reg, val);
	return 0;
}

static int cmd_bq_status(const struct shell *sh, size_t argc, char **argv)
{
	struct bq25895_status st;
	uint8_t reg0b;
	uint8_t fault;
	int err;

	ARG_UNUSED(argc);
	ARG_UNUSED(argv);

	if (!bq25895_available()) {
		shell_error(sh, "BQ25895 not available");
		return -ENODEV;
	}

	err = bq25895_read(&st);
	if (err) {
		shell_error(sh, "status read failed: %d", err);
		return err;
	}

	(void)bq25895_reg_read(0x0B, &reg0b);
	(void)bq25895_reg_read(0x0C, &fault);

	shell_print(sh, "BAT=%umV (%u%%) SYS=%umV VBUS=%umV(%s) ICHG=%umA",
		    st.batt_mv, st.battery_pct, st.sys_mv, st.vbus_mv,
		    bq25895_vbus_state_str(st.vbus_state), st.charge_ma);
	shell_print(sh, "charge=%s PG=%d VBUS_GD=%d",
		    bq25895_charge_state_str(st.charge_state),
		    st.power_good ? 1 : 0, st.vbus_present ? 1 : 0);
	decode_status_reg(sh, reg0b);
	decode_fault(sh, fault);
	return 0;
}

SHELL_STATIC_SUBCMD_SET_CREATE(bq_cmds,
	SHELL_CMD(dump, NULL, "Dump REG00..REG14 and decode status/fault",
		  cmd_bq_dump),
	SHELL_CMD(scan, NULL, "Scan I2C bus for ACKing addresses",
		  cmd_bq_scan),
	SHELL_CMD_ARG(read, NULL, "Read one register: bq read <reg>",
		      cmd_bq_read, 2, 0),
	SHELL_CMD_ARG(write, NULL, "Write one register: bq write <reg> <val>",
		      cmd_bq_write, 3, 0),
	SHELL_CMD(status, NULL, "Decoded charge / ADC snapshot", cmd_bq_status),
	SHELL_SUBCMD_SET_END
);

SHELL_CMD_REGISTER(bq, &bq_cmds, "BQ25895 charger debug", NULL);
```

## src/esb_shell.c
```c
/*
 * SPDX-License-Identifier: LicenseRef-Nordic-5-Clause
 *
 * UART shell helpers for ESB PTX bring-up / pairing debug.
 *
 * Console (uart20 @ 115200):
 *   esb status           — Hub cfg / pair / PTX present ping / last STATUS
 *   esb ping             — active check whether esb_ptx answers on UART
 *   esb cfg              — dump Hub-saved addresses
 *   esb get              — GET_CONFIG from PTX (wait RSP)
 *   esb push             — push Hub cfg to PTX (SET_RADIO/SET_ADDR/APPLY)
 *   esb pair             — force OTA PAIR (same as Btn1 hold)
 *   esb log [on|off]     — PTX DEBUG_LOG forward
 *   esb clear            — delete Hub flash esb_radio
 */

#include "hub_esb.h"

#include <errno.h>
#include <stdio.h>
#include <string.h>

#include <zephyr/kernel.h>
#include <zephyr/shell/shell.h>

static void print_hex(const struct shell *sh, const char *label, const uint8_t *p, size_t n)
{
	char line[48];
	size_t i;
	int pos = 0;

	for (i = 0; i < n && pos < (int)sizeof(line) - 3; i++) {
		pos += snprintk(line + pos, sizeof(line) - (size_t)pos, "%02x%s", p[i],
				(i + 1U < n) ? " " : "");
	}
	shell_print(sh, "  %s: %s", label, line);
}

static void print_cfg(const struct shell *sh, const char *title,
		      const struct uart_rc_esb_config *cfg)
{
	shell_print(sh, "%s", title);
	shell_print(sh, "  bitrate=%u tx_power=%d delay=%u pipe=%u", cfg->bitrate,
		    cfg->tx_power, cfg->retransmit_delay, cfg->pipe);
	print_hex(sh, "base0", cfg->base0, sizeof(cfg->base0));
	print_hex(sh, "base1", cfg->base1, sizeof(cfg->base1));
	print_hex(sh, "prefix", cfg->prefixes, sizeof(cfg->prefixes));
}

static void print_ptx_presence(const struct shell *sh, int ping_err,
			       const struct hub_esb_snapshot *snap)
{
	if (ping_err == 0 || ping_err == -ENODATA) {
		shell_print(sh, "  ptx_present: YES%s",
			    (ping_err == -ENODATA) ? " (RSP ok, cfg decode skipped)" : " (GET_CONFIG ACK)");
	} else if (ping_err == -ETIMEDOUT) {
		shell_print(sh, "  ptx_present: NO (no UART RSP in 300 ms)");
		shell_print(sh, "    check: Hub uart30 ↔ PTX uart20 TX/RX/GND, PTX powered");
	} else {
		shell_print(sh, "  ptx_present: ERROR (%d)", ping_err);
	}

	if (snap->last_ptx_rsp_age_ms >= 0) {
		shell_print(sh, "  last PTX ESB_RSP age=%lld ms",
			    (long long)snap->last_ptx_rsp_age_ms);
	} else {
		shell_print(sh, "  last PTX ESB_RSP: never");
	}
}

static int cmd_esb_status(const struct shell *sh, size_t argc, char **argv)
{
	struct hub_esb_snapshot snap;
	struct uart_rc_esb_config cfg;
	int ping_err;

	ARG_UNUSED(argc);
	ARG_UNUSED(argv);

	hub_esb_snapshot(&snap);

	shell_print(sh, "==== ESB / PTX link ====");
	shell_print(sh, "pinging PTX (GET_CONFIG, 300 ms)...");
	ping_err = hub_esb_ping_ptx(&cfg);
	hub_esb_snapshot(&snap); /* refresh ages after ping */
	print_ptx_presence(sh, ping_err, &snap);

	shell_print(sh, "  hub_cfg_ram=%s  hub_cfg_flash=%s",
		    snap.hub_cfg_ram_valid ? "yes" : "no",
		    snap.hub_cfg_flash_valid ? "yes" : "no");
	shell_print(sh, "  pair_session=%s  ptx_log_fwd=%s  xbox_ctrl=%s",
		    snap.pair_session_active ? "ACTIVE" : "idle",
		    snap.log_forward ? "on" : "off",
		    snap.xbox_ctrl_active ? "on (CTRL heartbeat)" : "off");

	if (snap.last_status_valid) {
		shell_print(sh,
			    "  last STATUS age=%lld ms seq=%u flags=0x%02x batt=%u mV",
			    (long long)snap.last_status_age_ms, snap.last_status.seq,
			    snap.last_status.flags, snap.last_status.battery_mv);
		shell_print(sh, "  R/P/Y=%d/%d/%d", snap.last_status.roll,
			    snap.last_status.pitch, snap.last_status.yaw);
		if (snap.last_status_age_ms >= 0 && snap.last_status_age_ms < 1000) {
			shell_print(sh, "  rf_link: OK (STATUS recent from PRX via PTX)");
		} else if (snap.last_status_age_ms >= 0) {
			shell_print(sh, "  rf_link: STALE (no STATUS >1s — PRX idle or RF down?)");
		}
	} else {
		shell_print(sh, "  last STATUS: never (PRX not reporting yet)");
	}

	if (ping_err == 0) {
		print_cfg(sh, "PTX live cfg:", &cfg);
	} else if (snap.hub_cfg_ram_valid || snap.hub_cfg_flash_valid) {
		print_cfg(sh, "Hub ESB cfg:", &snap.hub_cfg);
	}

	shell_print(sh, "tips: esb ping | esb pair | esb push | esb log on | flog mirror on");
	return 0;
}

static int cmd_esb_ping(const struct shell *sh, size_t argc, char **argv)
{
	struct hub_esb_snapshot snap;
	struct uart_rc_esb_config cfg;
	int err;

	ARG_UNUSED(argc);
	ARG_UNUSED(argv);

	shell_print(sh, "ping PTX (GET_CONFIG, 300 ms)...");
	err = hub_esb_ping_ptx(&cfg);
	hub_esb_snapshot(&snap);
	print_ptx_presence(sh, err, &snap);
	if (err == 0) {
		print_cfg(sh, "PTX cfg:", &cfg);
		return 0;
	}
	if (err == -ENODATA) {
		return 0;
	}
	return err;
}

static int cmd_esb_cfg(const struct shell *sh, size_t argc, char **argv)
{
	struct uart_rc_esb_config cfg;
	struct hub_esb_snapshot snap;
	int err;

	ARG_UNUSED(argc);
	ARG_UNUSED(argv);

	hub_esb_snapshot(&snap);
	shell_print(sh, "hub_cfg_ram=%s hub_cfg_flash=%s pair=%s",
		    snap.hub_cfg_ram_valid ? "yes" : "no",
		    snap.hub_cfg_flash_valid ? "yes" : "no",
		    snap.pair_session_active ? "ACTIVE" : "idle");

	err = hub_esb_get_cfg(&cfg);
	if (err != 0) {
		shell_error(sh, "no Hub ESB config (run esb pair first)");
		return err;
	}
	print_cfg(sh, "Hub ESB cfg:", &cfg);
	return 0;
}

static int cmd_esb_get(const struct shell *sh, size_t argc, char **argv)
{
	struct uart_rc_esb_config cfg;
	int err;

	ARG_UNUSED(argc);
	ARG_UNUSED(argv);

	shell_print(sh, "GET_CONFIG -> PTX ...");
	err = hub_esb_query_ptx(&cfg);
	if (err != 0) {
		shell_error(sh, "GET_CONFIG failed: %d (PTX UART up?)", err);
		return err;
	}
	print_cfg(sh, "PTX cfg (also cached in Hub RAM):", &cfg);
	return 0;
}

static int cmd_esb_push(const struct shell *sh, size_t argc, char **argv)
{
	int err;

	ARG_UNUSED(argc);
	ARG_UNUSED(argv);

	err = hub_esb_push_to_ptx();
	if (err != 0) {
		shell_error(sh, "push failed: %d (need Hub cfg — esb pair / esb get)", err);
		return err;
	}
	shell_print(sh, "pushed Hub cfg to PTX (SET_RADIO/SET_ADDR/APPLY)");
	return 0;
}

static int cmd_esb_pair(const struct shell *sh, size_t argc, char **argv)
{
	int err;

	ARG_UNUSED(argc);
	ARG_UNUSED(argv);

	shell_print(sh, "OTA PAIR start — PRX must be in pair mode (Btn1 5s or no flash cfg)");
	shell_print(sh, "PTX log forward ON; wait for PRX ACK (max ~32s)");
	err = hub_esb_force_pair();
	if (err != 0) {
		shell_error(sh, "pair start failed: %d", err);
		return err;
	}
	shell_print(sh, "pair session ACTIVE — use esb status / flog show esb");
	return 0;
}

static int cmd_esb_log(const struct shell *sh, size_t argc, char **argv)
{
	struct hub_esb_snapshot snap;
	int err;

	if (argc < 2) {
		hub_esb_snapshot(&snap);
		shell_print(sh, "ptx log forward: %s", snap.log_forward ? "on" : "off");
		shell_print(sh, "usage: esb log <on|off>");
		return 0;
	}

	if (!strcmp(argv[1], "on")) {
		err = hub_esb_set_log_forward(true);
	} else if (!strcmp(argv[1], "off")) {
		err = hub_esb_set_log_forward(false);
	} else {
		shell_error(sh, "usage: esb log <on|off>");
		return -EINVAL;
	}

	if (err != 0) {
		shell_error(sh, "log forward ctrl failed: %d", err);
		return err;
	}
	shell_print(sh, "ptx log forward -> %s", argv[1]);
	return 0;
}

static int cmd_esb_clear(const struct shell *sh, size_t argc, char **argv)
{
	int err;

	ARG_UNUSED(argc);
	ARG_UNUSED(argv);

	err = hub_esb_clear_saved();
	if (err != 0) {
		shell_error(sh, "clear failed: %d", err);
		return err;
	}
	shell_print(sh, "Hub esb_radio cleared (PTX still needs esb push after new pair)");
	return 0;
}

SHELL_STATIC_SUBCMD_SET_CREATE(esb_cmds,
	SHELL_CMD(status, NULL, "Link / pair / PTX present ping", cmd_esb_status),
	SHELL_CMD(ping, NULL, "Check if esb_ptx answers on UART", cmd_esb_ping),
	SHELL_CMD(cfg, NULL, "Show Hub-saved ESB config", cmd_esb_cfg),
	SHELL_CMD(get, NULL, "GET_CONFIG from PTX", cmd_esb_get),
	SHELL_CMD(push, NULL, "Push Hub cfg to PTX", cmd_esb_push),
	SHELL_CMD(pair, NULL, "Force OTA PAIR", cmd_esb_pair),
	SHELL_CMD_ARG(log, NULL, "PTX log forward on|off", cmd_esb_log, 1, 1),
	SHELL_CMD(clear, NULL, "Delete Hub flash esb_radio", cmd_esb_clear),
	SHELL_SUBCMD_SET_END);

SHELL_CMD_REGISTER(esb, &esb_cmds, "ESB PTX debug (pair / link / cfg)", NULL);
```

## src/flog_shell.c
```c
/*
 * SPDX-License-Identifier: LicenseRef-Nordic-5-Clause
 *
 * hub> flog show [N] [from <idx>] [/kw|kw:kw] [mod|!mod|all]... [lvl]
 * hub> flog find <kw> [N] [from <idx>] [mod|!mod]... [lvl]
 * hub> flog clear | status | mirror on|off
 *
 * Line numbers [#idx ...] are absolute among matching rows (oldest=0).
 *
 * Examples:
 *   flog show
 *   flog show 100
 *   flog show from 200          # from #200, next 50
 *   flog show from 200 20       # from #200, next 20
 *   flog show /0x3e 50
 *   flog show kw:fail !bq
 *   flog find disconnect
 *   flog find Security 20 xbox
 */

#include "hub_flash_log.h"
#include "hub_log.h"

#include <errno.h>
#include <stdlib.h>
#include <string.h>

#include <zephyr/shell/shell.h>

static int parse_mod_token(const char *tok, uint32_t *mask, bool *have_include,
			   bool *have_exclude)
{
	const char *name = tok;
	bool exclude = false;
	int mod;

	if (tok[0] == '!' || tok[0] == '-') {
		exclude = true;
		name = tok + 1;
		if (name[0] == '\0') {
			return -EINVAL;
		}
	}

	if (!strcmp(name, "all")) {
		if (exclude) {
			*mask = 0U;
			*have_exclude = true;
		} else {
			*mask = HUB_LOG_MOD_MASK_ALL;
			*have_include = true;
		}
		return 0;
	}

	mod = hub_log_mod_from_str(name);
	if (mod < 0) {
		return -ENOENT;
	}

	if (exclude) {
		if (!*have_include && !*have_exclude) {
			*mask = HUB_LOG_MOD_MASK_ALL;
		}
		*mask &= ~(1u << (unsigned)mod);
		*have_exclude = true;
	} else {
		if (!*have_include) {
			*mask = 0U;
			*have_include = true;
		}
		*mask |= (1u << (unsigned)mod);
	}
	return 0;
}

static bool is_uint_token(const char *s)
{
	if (s == NULL || s[0] == '\0') {
		return false;
	}
	for (; *s != '\0'; s++) {
		if (*s < '0' || *s > '9') {
			return false;
		}
	}
	return true;
}

static int parse_query_args(const struct shell *sh, size_t argc, char **argv,
			    size_t start, struct hub_flash_log_query *q,
			    bool keyword_required)
{
	bool have_include = false;
	bool have_exclude = false;
	bool got_limit = false;
	int v;
	int err;
	size_t i = start;

	q->limit = 50;
	q->from = 0;
	q->take_tail = true;
	q->mod_mask = HUB_LOG_MOD_MASK_ALL;
	q->level_max = -1;
	q->keyword = NULL;

	if (keyword_required) {
		if (argc <= i) {
			shell_error(sh, "usage: flog find <keyword> ...");
			return -EINVAL;
		}
		q->keyword = argv[i++];
	}

	while (argc > i) {
		if (!strcmp(argv[i], "from")) {
			if (argc <= i + 1 || !is_uint_token(argv[i + 1])) {
				shell_error(sh, "from needs an index");
				return -EINVAL;
			}
			q->from = (unsigned int)strtoul(argv[i + 1], NULL, 0);
			q->take_tail = false;
			i += 2;
			continue;
		}

		if (argv[i][0] == '/' && argv[i][1] != '\0') {
			q->keyword = &argv[i][1];
			i++;
			continue;
		}
		if (!strncmp(argv[i], "kw:", 3) && argv[i][3] != '\0') {
			q->keyword = &argv[i][3];
			i++;
			continue;
		}

		v = hub_log_level_from_str(argv[i]);
		if (v >= 0 && argv[i][0] != '!' && argv[i][0] != '-') {
			q->level_max = v;
			i++;
			if (argc > i) {
				shell_error(sh, "unexpected args after level");
				return -EINVAL;
			}
			break;
		}

		if (is_uint_token(argv[i])) {
			q->limit = (unsigned int)strtoul(argv[i], NULL, 0);
			got_limit = true;
			i++;
			continue;
		}

		err = parse_mod_token(argv[i], &q->mod_mask, &have_include, &have_exclude);
		if (err == -ENOENT) {
			shell_error(sh, "unknown token '%s'", argv[i]);
			shell_print(sh,
				    "mods: sys xbox hid phone uart esb bq input");
			shell_print(sh, "also: from <idx>  /keyword  kw:keyword");
			return -EINVAL;
		}
		if (err) {
			shell_error(sh, "bad module token '%s'", argv[i]);
			return -EINVAL;
		}
		i++;
	}

	ARG_UNUSED(got_limit);
	if (keyword_required && (q->keyword == NULL || q->keyword[0] == '\0')) {
		shell_error(sh, "keyword required");
		return -EINVAL;
	}
	return 0;
}

static int cmd_flog_show(const struct shell *sh, size_t argc, char **argv)
{
	struct hub_flash_log_query q;
	int err;

	err = parse_query_args(sh, argc, argv, 1, &q, false);
	if (err) {
		return err;
	}
	return hub_flash_log_dump(sh, &q);
}

static int cmd_flog_find(const struct shell *sh, size_t argc, char **argv)
{
	struct hub_flash_log_query q;
	int err;

	err = parse_query_args(sh, argc, argv, 1, &q, true);
	if (err) {
		return err;
	}
	return hub_flash_log_dump(sh, &q);
}

static int cmd_flog_clear(const struct shell *sh, size_t argc, char **argv)
{
	int err;

	ARG_UNUSED(argc);
	ARG_UNUSED(argv);

	err = hub_flash_log_clear();
	if (err) {
		shell_error(sh, "clear failed: %d", err);
		return err;
	}
	shell_print(sh, "flash log cleared");
	return 0;
}

static int cmd_flog_status(const struct shell *sh, size_t argc, char **argv)
{
	ARG_UNUSED(argc);
	ARG_UNUSED(argv);
	hub_flash_log_status(sh);
	return 0;
}

static int cmd_flog_mirror(const struct shell *sh, size_t argc, char **argv)
{
	if (argc < 2) {
		shell_print(sh, "uart mirror: %s", hub_log_uart_mirror ? "on" : "off");
		shell_print(sh, "usage: flog mirror <on|off>");
		return 0;
	}
	if (!strcmp(argv[1], "on") || !strcmp(argv[1], "1")) {
		hub_log_uart_mirror = true;
	} else if (!strcmp(argv[1], "off") || !strcmp(argv[1], "0")) {
		hub_log_uart_mirror = false;
	} else {
		shell_error(sh, "use on|off");
		return -EINVAL;
	}
	shell_print(sh, "uart mirror -> %s", hub_log_uart_mirror ? "on" : "off");
	return 0;
}

SHELL_STATIC_SUBCMD_SET_CREATE(flog_cmds,
	SHELL_CMD_ARG(show, NULL,
		      "Show: [N] [from idx] [/kw] [mod|!mod]... [lvl]",
		      cmd_flog_show, 1, 12),
	SHELL_CMD_ARG(find, NULL,
		      "Find: <kw> [N] [from idx] [mod|!mod]... [lvl]",
		      cmd_flog_find, 2, 12),
	SHELL_CMD(clear, NULL, "Erase flash log", cmd_flog_clear),
	SHELL_CMD(status, NULL, "Flash log + module levels", cmd_flog_status),
	SHELL_CMD_ARG(mirror, NULL, "UART mirror on|off", cmd_flog_mirror, 1, 1),
	SHELL_SUBCMD_SET_END
);

SHELL_CMD_REGISTER(flog, &flog_cmds, "External flash application log", NULL);
```

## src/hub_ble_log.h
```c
/*
 * SPDX-License-Identifier: LicenseRef-Nordic-5-Clause
 *
 * BLE pull of flash application logs via Hub GATT LogCtrl / LogData.
 */

#ifndef HUB_BLE_LOG_H_
#define HUB_BLE_LOG_H_

#include <zephyr/bluetooth/conn.h>
#include <zephyr/bluetooth/gatt.h>
#include <zephyr/bluetooth/uuid.h>

void hub_ble_log_init(void);
void hub_ble_log_bind(const struct bt_gatt_attr *data_attr);
void hub_ble_log_on_phone_disconnect(void);

ssize_t hub_ble_log_ctrl_write(struct bt_conn *conn, const struct bt_gatt_attr *attr,
			       const void *buf, uint16_t len, uint16_t offset,
			       uint8_t flags);

#endif /* HUB_BLE_LOG_H_ */
```
